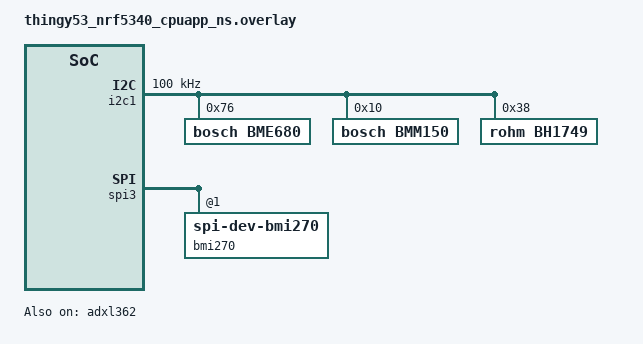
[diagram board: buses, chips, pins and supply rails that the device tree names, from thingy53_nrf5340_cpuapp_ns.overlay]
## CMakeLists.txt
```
#
# Copyright (c) 2018 Nordic Semiconductor
#
# SPDX-License-Identifier: LicenseRef-Nordic-5-Clause
#
cmake_minimum_required(VERSION 3.20.0)

find_package(Zephyr REQUIRED HINTS $ENV{ZEPHYR_BASE})
project(thingy53_BT_services)

# NORDIC SDK APP START
target_sources(app PRIVATE
  src/main.c
  src/bme68x_service.c
  src/adxl362_service.c
  src/bmm150_service.c
  src/BH1749NUC_colorsens_service.c
  src/bmi270_service.c
  src/debug_service.c
)

# NORDIC SDK APP END
```

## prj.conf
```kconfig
#
# Copyright (c) 2018 Nordic Semiconductor
#
# SPDX-License-Identifier: LicenseRef-Nordic-5-Clause
#

CONFIG_LOG=y
CONFIG_PRINTK=y
CONFIG_CONSOLE=y



CONFIG_NCS_SAMPLES_DEFAULTS=y

CONFIG_BT=y
CONFIG_BT_PERIPHERAL=y
CONFIG_BT_DEVICE_NAME="Nordic_LBS"


CONFIG_I2C=y
CONFIG_SPI=y
CONFIG_SENSOR=y
CONFIG_GPIO=y

# Sensors
CONFIG_BME680=y
CONFIG_ADXL362=y
CONFIG_BMM150=y
CONFIG_BH1749=y
CONFIG_BMI270=y

CONFIG_LOG=y
CONFIG_PRINTK=y
CONFIG_CONSOLE=y

# Enable the LBS service
CONFIG_BT_LBS=y
CONFIG_BT_LBS_POLL_BUTTON=y
CONFIG_DK_LIBRARY=y

CONFIG_SYSTEM_WORKQUEUE_STACK_SIZE=2048
```

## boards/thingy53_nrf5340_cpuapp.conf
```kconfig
#
# Copyright (c) 2021 Nordic Semiconductor ASA
#
# SPDX-License-Identifier: LicenseRef-Nordic-5-Clause
#
################################################################################
# Application overlay - Thingy:53 DFU

CONFIG_NCS_SAMPLE_MCUMGR_BT_OTA_DFU=y

CONFIG_SYSTEM_WORKQUEUE_STACK_SIZE=4096

# Use deferred logging
CONFIG_NCS_SAMPLES_DEFAULTS=n
CONFIG_LOG=y
CONFIG_ASSERT=y
CONFIG_ASSERT_NO_COND_INFO=y
CONFIG_ASSERT_NO_MSG_INFO=y
CONFIG_HW_STACK_PROTECTION=y

#&i2c1 {
 #   status = "okay";
   # clock-frequency = <I2C_BITRATE_STANDARD>;

    #bme680: bme680@76 {
     #   compatible = "bosch,bme680";
      #  reg = <0x76>;
   # };
#};
```

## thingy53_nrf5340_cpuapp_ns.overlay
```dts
&i2c1 {
    status = "okay";
    clock-frequency = <100000>; /* Standard 100kHz bitrate */

    bme680: bme680@76 {
        compatible = "bosch,bme680";
        reg = <0x76>;
    };

    bmm150: bmm150@10 {
        compatible = "bosch,bmm150";
        reg = <0x10>;          
        status = "okay";
    };

    bh1749: bh1749@38 {
        compatible = "rohm,bh1749";
        reg = <0x38>;
        status = "okay";
    };
};

&adxl362 {
    status = "okay";
};

&spi3 {
    bmi270: spi-dev-bmi270@1 {
        status = "okay";
    }; 
};
```

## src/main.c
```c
/*
 * Copyright (c) 2018 Nordic Semiconductor ASA
 *
 * SPDX-License-Identifier: LicenseRef-Nordic-5-Clause
 */

#include <zephyr/types.h>
#include <stddef.h>
#include <string.h>
#include <errno.h>

#include <zephyr/sys/printk.h>
#include <zephyr/sys/byteorder.h>
#include <zephyr/kernel.h>
#include <zephyr/drivers/gpio.h>
#include <soc.h>

#include <zephyr/bluetooth/bluetooth.h>
#include <zephyr/bluetooth/hci.h>
#include <zephyr/bluetooth/conn.h>
#include <zephyr/bluetooth/uuid.h>
#include <zephyr/bluetooth/gatt.h>

#include <bluetooth/services/lbs.h>
#include <zephyr/settings/settings.h>
#include <dk_buttons_and_leds.h>

#include "debug_service.h"

#include "bme68x_service.h"
#include "adxl362_service.h"
#include "bmm150_service.h"
#include "BH1749NUC_colorsens_service.h"

#define DEVICE_NAME             CONFIG_BT_DEVICE_NAME
#define DEVICE_NAME_LEN         (sizeof(DEVICE_NAME) - 1)

#define RUN_STATUS_LED          DK_LED1
#define CON_STATUS_LED          DK_LED2
#define RUN_LED_BLINK_INTERVAL  1000

#define USER_LED                DK_LED3
#define USER_BUTTON             DK_BTN1_MSK

static bool app_button_state;
static struct k_work adv_work;

static const struct bt_data ad[] = {
    BT_DATA_BYTES(BT_DATA_FLAGS, (BT_LE_AD_GENERAL | BT_LE_AD_NO_BREDR)),
    BT_DATA(BT_DATA_NAME_COMPLETE, DEVICE_NAME, DEVICE_NAME_LEN),
};

static const struct bt_data sd[] = {
    BT_DATA_BYTES(BT_DATA_UUID128_ALL, BT_UUID_LBS_VAL),
};

static void adv_work_handler(struct k_work *work)
{
    int err = bt_le_adv_start(BT_LE_ADV_CONN_FAST_2, ad, ARRAY_SIZE(ad), sd, ARRAY_SIZE(sd));

    if (err) {
        printk("Advertising failed to start (err %d)\n", err);
        return;
    }

    printk("Advertising successfully started\n");
}

static void advertising_start(void)
{
    k_work_submit(&adv_work);
}

static void connected(struct bt_conn *conn, uint8_t err)
{
    if (err) {
        printk("Connection failed, err 0x%02x %s\n", err, bt_hci_err_to_str(err));
        return;
    }

    printk("Connected\n");
    dk_set_led_on(CON_STATUS_LED);
}

static void disconnected(struct bt_conn *conn, uint8_t reason)
{
    printk("Disconnected, reason 0x%02x %s\n", reason, bt_hci_err_to_str(reason));
    dk_set_led_off(CON_STATUS_LED);
}

static void recycled_cb(void)
{
    printk("Connection object available from previous conn. Disconnect is complete!\n");
    advertising_start();
}

#ifdef CONFIG_BT_LBS_SECURITY_ENABLED
static void security_changed(struct bt_conn *conn, bt_security_t level,
                 enum bt_security_err err)
{
    char addr[BT_ADDR_LE_STR_LEN];

    bt_addr_le_to_str(bt_conn_get_dst(conn), addr, sizeof(addr));

    if (!err) {
        printk("Security changed: %s level %u\n", addr, level);
    } else {
        printk("Security failed: %s level %u err %d %s\n", addr, level, err,
               bt_security_err_to_str(err));
    }
}
#endif

BT_CONN_CB_DEFINE(conn_callbacks) = {
    .connected        = connected,
    .disconnected     = disconnected,
    .recycled         = recycled_cb,
#ifdef CONFIG_BT_LBS_SECURITY_ENABLED
    .security_changed = security_changed,
#endif
};

#if defined(CONFIG_BT_LBS_SECURITY_ENABLED)
static void auth_passkey_display(struct bt_conn *conn, unsigned int passkey)
{
    char addr[BT_ADDR_LE_STR_LEN];

    bt_addr_le_to_str(bt_conn_get_dst(conn), addr, sizeof(addr));
    printk("Passkey for %s: %06u\n", addr, passkey);
}

static void auth_cancel(struct bt_conn *conn)
{
    char addr[BT_ADDR_LE_STR_LEN];

    bt_addr_le_to_str(bt_conn_get_dst(conn), addr, sizeof(addr));
    printk("Pairing cancelled: %s\n", addr);
}

static void pairing_complete(struct bt_conn *conn, bool bonded)
{
    char addr[BT_ADDR_LE_STR_LEN];

    bt_addr_le_to_str(bt_conn_get_dst(conn), addr, sizeof(addr));
    printk("Pairing completed: %s, bonded: %d\n", addr, bonded);
}

static void pairing_failed(struct bt_conn *conn, enum bt_security_err reason)
{
    char addr[BT_ADDR_LE_STR_LEN];

    bt_addr_le_to_str(bt_conn_get_dst(conn), addr, sizeof(addr));
    printk("Pairing failed conn: %s, reason %d %s\n", addr, reason,
           bt_security_err_to_str(reason));
}

static struct bt_conn_auth_cb conn_auth_callbacks = {
    .passkey_display = auth_passkey_display,
    .cancel = auth_cancel,
};

static struct bt_conn_auth_info_cb conn_auth_info_callbacks = {
    .pairing_complete = pairing_complete,
    .pairing_failed = pairing_failed
};
#else
static struct bt_conn_auth_cb conn_auth_callbacks;
static struct bt_conn_auth_info_cb conn_auth_info_callbacks;
#endif

static void app_led_cb(bool led_state)
{
    dk_set_led(USER_LED, led_state);
}

static bool app_button_cb(void)
{
    return app_button_state;
}

static struct bt_lbs_cb lbs_callbacks = {
    .led_cb    = app_led_cb,
    .button_cb = app_button_cb,
};

static void button_changed(uint32_t button_state, uint32_t has_changed)
{
    if (has_changed & USER_BUTTON) {
        uint32_t user_button_state = button_state & USER_BUTTON;

        bt_lbs_send_button_state(user_button_state);
        app_button_state = user_button_state ? true : false;
    }
}

static int init_button(void)
{
    int err;

    err = dk_buttons_init(button_changed);
    if (err) {
        printk("Cannot init buttons (err: %d)\n", err);
    }

    return err;
}

int main(void)
{
    int blink_status = 0;
	int err;
	
	char debug_msg[96];
	int bmm150_init_status = 0;
	int bmm150_exec_status = 0;
	int bh1749_init_status = 0;
	int bh1749_exec_status = 0;

    printk("Starting Bluetooth Peripheral LBS sample\n");

    err = dk_leds_init();
    if (err) {
        printk("LEDs init failed (err %d)\n", err);
        return 0;
    }

    err = init_button();
    if (err) {
        printk("Button init failed (err %d)\n", err);
        return 0;
    }

    if (IS_ENABLED(CONFIG_BT_LBS_SECURITY_ENABLED)) {
        err = bt_conn_auth_cb_register(&conn_auth_callbacks);
        if (err) {
            printk("Failed to register authorization callbacks.\n");
            return 0;
        }

        err = bt_conn_auth_info_cb_register(&conn_auth_info_callbacks);
        if (err) {
            printk("Failed to register authorization info callbacks.\n");
            return 0;
        }
    }

    err = bt_enable(NULL);
    if (err) {
        printk("Bluetooth init failed (err %d)\n", err);
        return 0;
    }

    printk("Bluetooth initialized\n");

    if (IS_ENABLED(CONFIG_SETTINGS)) {
        settings_load();
    }

    err = bt_lbs_init(&lbs_callbacks);
    if (err) {
        printk("Failed to init LBS (err:%d)\n", err);
        return 0;
    }

    k_work_init(&adv_work, adv_work_handler);

    // Allow regulators and the I2C bus plenty of time to stabilize
    k_msleep(1000); 

	err = debug_service_init();
	if (err) {
    	printk("Failed to init debug service (err %d)\n", err);
    	return 0;
	}

#if defined(CONFIG_SENSOR)
    err = bme68x_service_init();
    if (err) {
        printk("Failed to init BME68x service (err %d)\n", err);
        return 0;
    }

    err = adxl362_service_init();
    if (err) {
        printk("Failed to init adxl362 service (err %d)\n", err);
        return 0;
    }

    bmm150_init_status = bmm150_service_init();
	if (bmm150_init_status) {
    	printk("Failed to init BMM150 service (err %d)\n", bmm150_init_status);
	}

    bh1749_init_status = bh1749_service_init();
    if (bh1749_init_status) {
        printk("Failed to init BH1749 color sensor (err %d)\n", bh1749_init_status);
    }

	snprintk(debug_msg, sizeof(debug_msg),
         "BMM_INIT=%d BMM_EXEC=%d BH1749_INIT=%d BH1749_EXEC=%d",
         bmm150_init_status, bmm150_exec_status,
         bh1749_init_status, bh1749_exec_status);
	debug_service_set_message(debug_msg);

#endif

    advertising_start();

    for (;;) {
#if defined(CONFIG_SENSOR)

        err = bme68x_execute();
        if (err && err != -ENODEV && err != -ENOTCONN) {
            printk("bme68x_execute failed (err %d)\n", err);
        }

        err = adxl362_execute();
        if (err && err != -ENODEV && err != -ENOTCONN) {
            printk("adxl362_execute failed (err %d)\n", err);
        }
/*
        err = bmm150_execute();
        if (err && err != -ENODEV && err != -ENOTCONN) {
            printk("bmm150_execute failed (err %d)\n", err);
        }
*/

	bmm150_exec_status = bmm150_execute();
    if (bmm150_exec_status &&
        bmm150_exec_status != -ENODEV &&
        bmm150_exec_status != -ENOTCONN) {
        printk("bmm150_execute failed (err %d)\n", bmm150_exec_status);
    }

    bh1749_exec_status = bh1749_execute();
    if (bh1749_exec_status &&
        bh1749_exec_status != -ENODEV &&
        bh1749_exec_status != -ENOTCONN) {
        printk("bh1749_execute failed (err %d)\n", bh1749_exec_status);
    }

    snprintk(debug_msg, sizeof(debug_msg),
             "BMM_INIT=%d BMM_EXEC=%d BH1749_INIT=%d BH1749_EXEC=%d",
             bmm150_init_status, bmm150_exec_status,
             bh1749_init_status, bh1749_exec_status);

    debug_service_set_message(debug_msg);
    err = debug_service_notify();
    if (err && err != -ENOTCONN) {
        printk("debug_service_notify failed (err %d)\n", err);
    }

#endif

        dk_set_led(RUN_STATUS_LED, (++blink_status) % 2);
        k_sleep(K_MSEC(RUN_LED_BLINK_INTERVAL));
    }
}
```

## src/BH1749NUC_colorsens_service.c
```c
#include <zephyr/types.h>
#include <zephyr/device.h>
#include <zephyr/devicetree.h>
#include <zephyr/drivers/sensor.h>

#include <stddef.h>
#include <string.h>
#include <errno.h>
#include <stdbool.h>

#include <zephyr/sys/printk.h>
#include <zephyr/sys/util.h>

#include <zephyr/bluetooth/bluetooth.h>
#include <zephyr/bluetooth/uuid.h>
#include <zephyr/bluetooth/gatt.h>

#include "BH1749NUC_colorsens_service.h"

static bool color_ready;
static bool color_notify_enabled;
static const struct device *color = DEVICE_DT_GET(DT_NODELABEL(bh1749));

#define BT_UUID_COLOR_SERVICE_VAL \
	BT_UUID_128_ENCODE(0x12345678, 0x1234, 0x5678, 0x1234, 0x56789abc0030)

#define BT_UUID_COLOR_CHAR_VAL \
	BT_UUID_128_ENCODE(0x12345678, 0x1234, 0x5678, 0x1234, 0x56789abc0031)

static struct bt_uuid_128 color_service_uuid =
	BT_UUID_INIT_128(BT_UUID_COLOR_SERVICE_VAL);

static struct bt_uuid_128 color_char_uuid =
	BT_UUID_INIT_128(BT_UUID_COLOR_CHAR_VAL);

static void color_ccc_cfg_changed(const struct bt_gatt_attr *attr, uint16_t value)
{
	ARG_UNUSED(attr);

	color_notify_enabled = (value == BT_GATT_CCC_NOTIFY);
	printk("Color sensor notifications %s\n",
	       color_notify_enabled ? "enabled" : "disabled");
}

BT_GATT_SERVICE_DEFINE(color_svc,
	BT_GATT_PRIMARY_SERVICE(&color_service_uuid),
	BT_GATT_CHARACTERISTIC(&color_char_uuid.uuid,
			       BT_GATT_CHRC_NOTIFY,
			       BT_GATT_PERM_NONE,
			       NULL, NULL, NULL),
	BT_GATT_CCC(color_ccc_cfg_changed,
		    BT_GATT_PERM_READ | BT_GATT_PERM_WRITE),
);

static int color_send_notification(const struct sensor_value *red,
				   const struct sensor_value *green,
				   const struct sensor_value *blue,
				   const struct sensor_value *ir)
{
	char msg[96];

	if (!color_notify_enabled) {
		return 0;
	}

	snprintk(msg, sizeof(msg),
		 "R=%d.%06d G=%d.%06d B=%d.%06d IR=%d.%06d",
		 red->val1, red->val2,
		 green->val1, green->val2,
		 blue->val1, blue->val2,
		 ir->val1, ir->val2);

	return bt_gatt_notify(NULL, &color_svc.attrs[2], msg, strlen(msg));
}

int bh1749_service_init(void)
{
	if (!DT_NODE_EXISTS(DT_NODELABEL(bh1749))) {
		printk("BH1749 DT node not found\n");
		color_ready = false;
		return -ENODEV;
	}

	if (color == NULL) {
		printk("BH1749 device pointer is NULL\n");
		color_ready = false;
		return -ENODEV;
	}

	if (!device_is_ready(color)) {
		printk("BH1749 color sensor device not ready: %p\n", color);
		color_ready = false;
		return -ENODEV;
	}

	printk("BH1749 color sensor ready: %s (%p)\n", color->name, color);
	color_ready = true;

	return 0;
}

int bh1749_execute(void)
{
	int err;
	struct sensor_value red;
	struct sensor_value green;
	struct sensor_value blue;
	struct sensor_value ir;

	if (!color_ready) {
		return -ENODEV;
	}

	err = sensor_sample_fetch(color);
	if (err) {
		printk("color sensor_sample_fetch failed (err %d)\n", err);
		return err;
	}

	err = sensor_channel_get(color, SENSOR_CHAN_RED, &red);
	if (err) {
		printk("red channel read failed (err %d)\n", err);
		return err;
	}

	err = sensor_channel_get(color, SENSOR_CHAN_GREEN, &green);
	if (err) {
		printk("green channel read failed (err %d)\n", err);
		return err;
	}

	err = sensor_channel_get(color, SENSOR_CHAN_BLUE, &blue);
	if (err) {
		printk("blue channel read failed (err %d)\n", err);
		return err;
	}

	err = sensor_channel_get(color, SENSOR_CHAN_IR, &ir);
	if (err) {
		printk("IR channel read failed (err %d)\n", err);
		return err;
	}

	err = color_send_notification(&red, &green, &blue, &ir);
	if (err && err != -ENOTCONN) {
		printk("Color sensor notify failed (err %d)\n", err);
		return err;
	}

	printk("R: %d.%06d | G: %d.%06d | B: %d.%06d | IR: %d.%06d\n",
	       red.val1, red.val2,
	       green.val1, green.val2,
	       blue.val1, blue.val2,
	       ir.val1, ir.val2);

	return 0;
}
```

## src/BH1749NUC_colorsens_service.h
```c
#ifndef BH1749NUC_COLORSENS_SERVICE_H_
#define BH1749NUC_COLORSENS_SERVICE_H_

int bh1749_service_init(void);
int bh1749_execute(void);

#endif /* BH1749NUC_COLORSENS_SERVICE_H_ */
```

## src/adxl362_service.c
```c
#include <zephyr/types.h>
#include <zephyr/device.h>
#include <zephyr/devicetree.h>
#include <zephyr/drivers/sensor.h>

#include <stddef.h>
#include <string.h>
#include <errno.h>
#include <stdbool.h>

#include <zephyr/sys/printk.h>
#include <zephyr/sys/util.h>

#include <zephyr/bluetooth/bluetooth.h>
#include <zephyr/bluetooth/uuid.h>
#include <zephyr/bluetooth/gatt.h>

#include "adxl362_service.h"

static bool accel_ready;
static bool accel_notify_enabled;
static const struct device *accel = DEVICE_DT_GET(DT_ALIAS(accel0));

#define BT_UUID_ACCEL_SERVICE_VAL \
	BT_UUID_128_ENCODE(0x12345678, 0x1234, 0x5678, 0x1234, 0x56789abc0010)

#define BT_UUID_ACCEL_CHAR_VAL \
	BT_UUID_128_ENCODE(0x12345678, 0x1234, 0x5678, 0x1234, 0x56789abc0011)

static struct bt_uuid_128 accel_service_uuid =
	BT_UUID_INIT_128(BT_UUID_ACCEL_SERVICE_VAL);

static struct bt_uuid_128 accel_char_uuid =
	BT_UUID_INIT_128(BT_UUID_ACCEL_CHAR_VAL);

static void accel_ccc_cfg_changed(const struct bt_gatt_attr *attr, uint16_t value)
{
	ARG_UNUSED(attr);

	accel_notify_enabled = (value == BT_GATT_CCC_NOTIFY);
	printk("Accel notifications %s\n", accel_notify_enabled ? "enabled" : "disabled");
}

BT_GATT_SERVICE_DEFINE(accel_svc,
	BT_GATT_PRIMARY_SERVICE(&accel_service_uuid),
	BT_GATT_CHARACTERISTIC(&accel_char_uuid.uuid,
			       BT_GATT_CHRC_NOTIFY,
			       BT_GATT_PERM_NONE,
			       NULL, NULL, NULL),
	BT_GATT_CCC(accel_ccc_cfg_changed,
		    BT_GATT_PERM_READ | BT_GATT_PERM_WRITE),
);

static int accel_send_notification(const struct sensor_value *x,
				   const struct sensor_value *y,
				   const struct sensor_value *z)
{
	char msg[64];

	if (!accel_notify_enabled) {
		return 0;
	}

	snprintk(msg, sizeof(msg),
		 "AX=%d.%06d AY=%d.%06d AZ=%d.%06d",
		 x->val1, x->val2,
		 y->val1, y->val2,
		 z->val1, z->val2);

	return bt_gatt_notify(NULL, &accel_svc.attrs[2], msg, strlen(msg));
}

int adxl362_service_init(void)
{
	if (!device_is_ready(accel)) {
		printk("Accelerometer device not ready\n");
		accel_ready = false;
		return -ENODEV;
	}

	printk("Accelerometer ready: %s\n", accel->name);
	accel_ready = true;

	return 0;
}

int adxl362_execute(void)
{
	int err;
	struct sensor_value accel_x;
	struct sensor_value accel_y;
	struct sensor_value accel_z;

	if (!accel_ready) {
		return -ENODEV;
	}

	err = sensor_sample_fetch(accel);
	if (err) {
		printk("accel sensor_sample_fetch failed (err %d)\n", err);
		return err;
	}

	err = sensor_channel_get(accel, SENSOR_CHAN_ACCEL_X, &accel_x);
	if (err) {
		printk("accel X read failed (err %d)\n", err);
		return err;
	}

	err = sensor_channel_get(accel, SENSOR_CHAN_ACCEL_Y, &accel_y);
	if (err) {
		printk("accel Y read failed (err %d)\n", err);
		return err;
	}

	err = sensor_channel_get(accel, SENSOR_CHAN_ACCEL_Z, &accel_z);
	if (err) {
		printk("accel Z read failed (err %d)\n", err);
		return err;
	}

	err = accel_send_notification(&accel_x, &accel_y, &accel_z);
	if (err && err != -ENOTCONN) {
		printk("Accel notify failed (err %d)\n", err);
		return err;
	}

	printk("AX: %d.%06d | AY: %d.%06d | AZ: %d.%06d\n",
	       accel_x.val1, accel_x.val2,
	       accel_y.val1, accel_y.val2,
	       accel_z.val1, accel_z.val2);

	return 0;
}
```

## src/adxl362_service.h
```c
#ifndef adxl362_SERVICE_H_
#define adxl362_SERVICE_H_

int adxl362_service_init(void);
int adxl362_execute(void);

#endif /* adxl362_SERVICE_H_ */
```

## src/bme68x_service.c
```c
#include <zephyr/types.h>
#include <zephyr/device.h>
#include <zephyr/devicetree.h>
#include <zephyr/drivers/sensor.h>

#include <stddef.h>
#include <string.h>
#include <errno.h>
#include <stdbool.h>

#include <zephyr/sys/printk.h>
#include <zephyr/sys/util.h>

#include <zephyr/bluetooth/bluetooth.h>
#include <zephyr/bluetooth/uuid.h>
#include <zephyr/bluetooth/gatt.h>

#include "bme68x_service.h"

static bool bme_ready;
static bool bme_notify_enabled;
static const struct device *bme = DEVICE_DT_GET_ONE(bosch_bme680);

#define BT_UUID_BME_SERVICE_VAL \
	BT_UUID_128_ENCODE(0x12345678, 0x1234, 0x5678, 0x1234, 0x56789abc0000)

#define BT_UUID_BME_CHAR_VAL \
	BT_UUID_128_ENCODE(0x12345678, 0x1234, 0x5678, 0x1234, 0x56789abc0001)

static struct bt_uuid_128 bme_service_uuid =
	BT_UUID_INIT_128(BT_UUID_BME_SERVICE_VAL);

static struct bt_uuid_128 bme_char_uuid =
	BT_UUID_INIT_128(BT_UUID_BME_CHAR_VAL);

static void bme_ccc_cfg_changed(const struct bt_gatt_attr *attr, uint16_t value)
{
	ARG_UNUSED(attr);

	bme_notify_enabled = (value == BT_GATT_CCC_NOTIFY);
	printk("BME notifications %s\n", bme_notify_enabled ? "enabled" : "disabled");
}

BT_GATT_SERVICE_DEFINE(bme_svc,
	BT_GATT_PRIMARY_SERVICE(&bme_service_uuid),
	BT_GATT_CHARACTERISTIC(&bme_char_uuid.uuid,
			       BT_GATT_CHRC_NOTIFY,
			       BT_GATT_PERM_NONE,
			       NULL, NULL, NULL),
	BT_GATT_CCC(bme_ccc_cfg_changed,
		    BT_GATT_PERM_READ | BT_GATT_PERM_WRITE),
);

static int bme_send_notification(const struct sensor_value *temp,
				 const struct sensor_value *press,
				 const struct sensor_value *humidity,
				 const struct sensor_value *gas_res)
{
	char msg[96];

	if (!bme_notify_enabled) {
		return 0;
	}

	snprintk(msg, sizeof(msg),
		 "T=%d.%03d P=%d.%05d H=%d.%06d G=%d.%06d",
		 temp->val1, temp->val2,
		 press->val1, press->val2,
		 humidity->val1, humidity->val2,
		 gas_res->val1, gas_res->val2);

	return bt_gatt_notify(NULL, &bme_svc.attrs[2], msg, strlen(msg));
}

int bme68x_service_init(void)
{
	if (!device_is_ready(bme)) {
		printk("BME sensor device not ready\n");
		bme_ready = false;
		return -ENODEV;
	}

	printk("BME sensor ready: %s\n", bme->name);
	bme_ready = true;

	return 0;
}

int bme68x_execute(void)
{
	int err;
	struct sensor_value temp;
	struct sensor_value press;
	struct sensor_value humidity;
	struct sensor_value gas_res;

	if (!bme_ready) {
		return -ENODEV;
	}

	err = sensor_sample_fetch(bme);
	if (err) {
		printk("sensor_sample_fetch failed (err %d)\n", err);
		return err;
	}

	err = sensor_channel_get(bme, SENSOR_CHAN_AMBIENT_TEMP, &temp);
	if (err) {
		printk("temp read failed (err %d)\n", err);
		return err;
	}

	err = sensor_channel_get(bme, SENSOR_CHAN_PRESS, &press);
	if (err) {
		printk("press read failed (err %d)\n", err);
		return err;
	}

	err = sensor_channel_get(bme, SENSOR_CHAN_HUMIDITY, &humidity);
	if (err) {
		printk("humidity read failed (err %d)\n", err);
		return err;
	}

	err = sensor_channel_get(bme, SENSOR_CHAN_GAS_RES, &gas_res);
	if (err) {
		printk("gas resistance read failed (err %d)\n", err);
		return err;
	}

	err = bme_send_notification(&temp, &press, &humidity, &gas_res);
	if (err && err != -ENOTCONN) {
		printk("BME notify failed (err %d)\n", err);
		return err;
	}

	printk("T: %d.%06d | P: %d.%06d | H: %d.%06d | G: %d.%06d\n",
	       temp.val1, temp.val2,
	       press.val1, press.val2,
	       humidity.val1, humidity.val2,
	       gas_res.val1, gas_res.val2);

	return 0;
}
```

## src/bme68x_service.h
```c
#ifndef BME68X_SERVICE_H_
#define BME68X_SERVICE_H_

int bme68x_service_init(void);
int bme68x_execute(void);

#endif /* BME68X_SERVICE_H_ */
```

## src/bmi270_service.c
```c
#include <zephyr/types.h>
#include <zephyr/device.h>
#include <zephyr/devicetree.h>
#include <zephyr/drivers/sensor.h>

#include <stddef.h>
#include <string.h>
#include <errno.h>
#include <stdbool.h>

#include <zephyr/sys/printk.h>
#include <zephyr/sys/util.h>

#include <zephyr/bluetooth/bluetooth.h>
#include <zephyr/bluetooth/uuid.h>
#include <zephyr/bluetooth/gatt.h>

#define BMI270_REG_CHIP_ID         0x00

extern int bmi270_reg_read(const struct device *dev, uint8_t reg,
                            uint8_t *data, uint16_t length);

#include "bmi270_service.h"

static bool bmi270_ready;
static bool bmi270_notify_enabled;
static const struct device *bmi270 = DEVICE_DT_GET(DT_NODELABEL(bmi270));

#define BT_UUID_BMI270_SERVICE_VAL \
	BT_UUID_128_ENCODE(0x12345678, 0x1234, 0x5678, 0x1234, 0x56789abc0040)

#define BT_UUID_BMI270_CHAR_VAL \
	BT_UUID_128_ENCODE(0x12345678, 0x1234, 0x5678, 0x1234, 0x56789abc0041)

static struct bt_uuid_128 bmi270_service_uuid =
	BT_UUID_INIT_128(BT_UUID_BMI270_SERVICE_VAL);

static struct bt_uuid_128 bmi270_char_uuid =
	BT_UUID_INIT_128(BT_UUID_BMI270_CHAR_VAL);

static void bmi270_ccc_cfg_changed(const struct bt_gatt_attr *attr, uint16_t value)
{
	ARG_UNUSED(attr);

	bmi270_notify_enabled = (value == BT_GATT_CCC_NOTIFY);
	printk("BMI270 notifications %s\n",
	       bmi270_notify_enabled ? "enabled" : "disabled");
}

BT_GATT_SERVICE_DEFINE(bmi270_svc,
	BT_GATT_PRIMARY_SERVICE(&bmi270_service_uuid),
	BT_GATT_CHARACTERISTIC(&bmi270_char_uuid.uuid,
			       BT_GATT_CHRC_NOTIFY,
			       BT_GATT_PERM_NONE,
			       NULL, NULL, NULL),
	BT_GATT_CCC(bmi270_ccc_cfg_changed,
		    BT_GATT_PERM_READ | BT_GATT_PERM_WRITE),
);

static int bmi270_send_notification(const struct sensor_value *accel_x,
				   const struct sensor_value *accel_y,
				   const struct sensor_value *accel_z,
				   const struct sensor_value *gyro_x,
				   const struct sensor_value *gyro_y,
				   const struct sensor_value *gyro_z)
{
	char msg[128];

	if (!bmi270_notify_enabled) {
		return 0;
	}

	snprintk(msg, sizeof(msg),
		 "AX=%d.%06d AY=%d.%06d AZ=%d.%06d GX=%d.%06d GY=%d.%06d GZ=%d.%06d",
		 accel_x->val1, accel_x->val2,
		 accel_y->val1, accel_y->val2,
		 accel_z->val1, accel_z->val2,
		 gyro_x->val1, gyro_x->val2,
		 gyro_y->val1, gyro_y->val2,
		 gyro_z->val1, gyro_z->val2);

	return bt_gatt_notify(NULL, &bmi270_svc.attrs[2], msg, strlen(msg));
}

int bmi270_service_init(void)
{
	if (!DT_NODE_EXISTS(DT_NODELABEL(bmi270))) {
		printk("BMI270 DT node not found\n");
		bmi270_ready = false;
		return -ENODEV;
	}

	if (bmi270 == NULL) {
		printk("BMI270 device pointer is NULL\n");
		bmi270_ready = false;
		return -ENODEV;
	}

	if (!device_is_ready(bmi270)) {
		printk("BMI270 device not ready: %p\n", bmi270);
		bmi270_ready = false;
		return -ENODEV;
	}

	printk("BMI270 sensor ready: %s\n", bmi270->name);
	bmi270_ready = true;

	return 0;
}

int bmi270_get_chip_id(uint8_t *chip_id)
{
	int err;

	if (chip_id == NULL) {
		return -EINVAL;
	}

	if (!bmi270_ready) {
		return -ENODEV;
	}

	err = bmi270_reg_read(bmi270, BMI270_REG_CHIP_ID, chip_id, 1);
	if (err) {
		printk("BMI270 chip id read failed (err %d)\n", err);
		return err;
	}

	printk("BMI270 chip id: 0x%02x\n", *chip_id);
	return 0;
}

int bmi270_execute(void)
{
	int err;
	struct sensor_value accel_x;
	struct sensor_value accel_y;
	struct sensor_value accel_z;
	struct sensor_value gyro_x;
	struct sensor_value gyro_y;
	struct sensor_value gyro_z;

	if (!bmi270_ready) {
		return -ENODEV;
	}

	err = sensor_sample_fetch(bmi270);
	if (err) {
		printk("BMI270 sensor_sample_fetch failed (err %d)\n", err);
		return err;
	}

	err = sensor_channel_get(bmi270, SENSOR_CHAN_ACCEL_X, &accel_x);
	if (err) {
		printk("BMI270 accel X read failed (err %d)\n", err);
		return err;
	}

	err = sensor_channel_get(bmi270, SENSOR_CHAN_ACCEL_Y, &accel_y);
	if (err) {
		printk("BMI270 accel Y read failed (err %d)\n", err);
		return err;
	}

	err = sensor_channel_get(bmi270, SENSOR_CHAN_ACCEL_Z, &accel_z);
	if (err) {
		printk("BMI270 accel Z read failed (err %d)\n", err);
		return err;
	}

	err = sensor_channel_get(bmi270, SENSOR_CHAN_GYRO_X, &gyro_x);
	if (err) {
		printk("BMI270 gyro X read failed (err %d)\n", err);
		return err;
	}

	err = sensor_channel_get(bmi270, SENSOR_CHAN_GYRO_Y, &gyro_y);
	if (err) {
		printk("BMI270 gyro Y read failed (err %d)\n", err);
		return err;
	}

	err = sensor_channel_get(bmi270, SENSOR_CHAN_GYRO_Z, &gyro_z);
	if (err) {
		printk("BMI270 gyro Z read failed (err %d)\n", err);
		return err;
	}

	err = bmi270_send_notification(&accel_x, &accel_y, &accel_z,
				       &gyro_x, &gyro_y, &gyro_z);
	if (err && err != -ENOTCONN) {
		printk("BMI270 notify failed (err %d)\n", err);
		return err;
	}

	printk("AX:%d.%06d AY:%d.%06d AZ:%d.%06d GX:%d.%06d GY:%d.%06d GZ:%d.%06d\n",
	       accel_x.val1, accel_x.val2,
	       accel_y.val1, accel_y.val2,
	       accel_z.val1, accel_z.val2,
	       gyro_x.val1, gyro_x.val2,
	       gyro_y.val1, gyro_y.val2,
	       gyro_z.val1, gyro_z.val2);

	return 0;
}
```

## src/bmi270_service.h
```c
#ifndef BMI270_SERVICE_H_
#define BMI270_SERVICE_H_

#include <zephyr/types.h>

int bmi270_service_init(void);
int bmi270_execute(void);
int bmi270_get_chip_id(uint8_t *chip_id);

#endif /* BMI270_SERVICE_H_ */
```

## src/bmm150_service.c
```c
#include <zephyr/types.h>
#include <zephyr/device.h>
#include <zephyr/devicetree.h>
#include <zephyr/drivers/sensor.h>

#include <stddef.h>
#include <string.h>
#include <errno.h>
#include <stdbool.h>

#include <zephyr/sys/printk.h>
#include <zephyr/sys/util.h>
#include <zephyr/drivers/i2c.h>
#include <zephyr/drivers/spi.h>

#include <zephyr/bluetooth/bluetooth.h>
#include <zephyr/bluetooth/uuid.h>
#include <zephyr/bluetooth/gatt.h>

#include "bmm150_service.h"

static bool mag_ready;
static bool bmm150_notify_enabled;

static const struct device *mag = DEVICE_DT_GET_ONE(bosch_bmm150);

#define BMM150_REG_CHIP_ID         0x40

union bmm150_bus;

typedef int (*bmm150_reg_read_fn)(const union bmm150_bus *bus,
                                  uint8_t start,
                                  uint8_t *buf,
                                  int size);

typedef int (*bmm150_reg_write_fn)(const union bmm150_bus *bus,
                                   uint8_t reg,
                                   uint8_t val);

struct bmm150_bus_io {
        bmm150_reg_read_fn read;
        bmm150_reg_write_fn write;
};

union bmm150_bus {
#if defined(CONFIG_I2C)
        struct i2c_dt_spec i2c;
#endif
#if defined(CONFIG_SPI)
        struct spi_dt_spec spi;
#endif
};

struct bmm150_config {
        union bmm150_bus bus;
        const struct bmm150_bus_io *bus_io;
};

#define BT_UUID_BMM150_SERVICE_VAL \
	BT_UUID_128_ENCODE(0x12345678, 0x1234, 0x5678, 0x1234, 0x56789abc0020)

#define BT_UUID_BMM150_CHAR_VAL \
	BT_UUID_128_ENCODE(0x12345678, 0x1234, 0x5678, 0x1234, 0x56789abc0021)

static struct bt_uuid_128 bmm150_service_uuid =
	BT_UUID_INIT_128(BT_UUID_BMM150_SERVICE_VAL);

static struct bt_uuid_128 bmm150_char_uuid =
	BT_UUID_INIT_128(BT_UUID_BMM150_CHAR_VAL);

static void bmm150_ccc_cfg_changed(const struct bt_gatt_attr *attr, uint16_t value)
{
	ARG_UNUSED(attr);

	bmm150_notify_enabled = (value == BT_GATT_CCC_NOTIFY);
	printk("BMM150 notifications %s\n",
	       bmm150_notify_enabled ? "enabled" : "disabled");
}

BT_GATT_SERVICE_DEFINE(bmm150_svc,
	BT_GATT_PRIMARY_SERVICE(&bmm150_service_uuid),
	BT_GATT_CHARACTERISTIC(&bmm150_char_uuid.uuid,
			       BT_GATT_CHRC_NOTIFY,
			       BT_GATT_PERM_NONE,
			       NULL, NULL, NULL),
	BT_GATT_CCC(bmm150_ccc_cfg_changed,
		    BT_GATT_PERM_READ | BT_GATT_PERM_WRITE),
);

static int bmm150_send_notification(const struct sensor_value *x,
				    const struct sensor_value *y,
				    const struct sensor_value *z)
{
	char msg[64];

	if (!bmm150_notify_enabled) {
		return 0;
	}

	snprintk(msg, sizeof(msg),
		 "MX=%d.%06d MY=%d.%06d MZ=%d.%06d",
		 x->val1, x->val2,
		 y->val1, y->val2,
		 z->val1, z->val2);

	return bt_gatt_notify(NULL, &bmm150_svc.attrs[2], msg, strlen(msg));
}

int bmm150_service_init(void)
{
	if (mag == NULL) {
		printk("BMM150 device pointer is NULL\n");
		mag_ready = false;
		return -ENODEV;
	}

	if (!device_is_ready(mag)) {
		printk("BMM150 device not ready: %p\n", mag);
		mag_ready = false;
		return -ENODEV;
	}

	printk("BMM150 ready: %s (%p)\n", mag->name, mag);
	mag_ready = true;

	return 0;
}

int bmm150_get_chip_id(uint8_t *chip_id)
{
	const struct bmm150_config *cfg;
	int err;

	if (chip_id == NULL) {
		return -EINVAL;
	}

	if (!mag_ready) {
		return -ENODEV;
	}

	cfg = mag->config;
	if (cfg == NULL || cfg->bus_io == NULL || cfg->bus_io->read == NULL) {
		return -EINVAL;
	}

	err = cfg->bus_io->read(&cfg->bus, BMM150_REG_CHIP_ID, chip_id, 1);
	if (err) {
		printk("BMM150 chip id read failed (err %d)\n", err);
		return err;
	}

	printk("BMM150 chip id: 0x%02x\n", *chip_id);
	return 0;
}

int bmm150_execute(void)
{
	int err;
	struct sensor_value magn_x;
	struct sensor_value magn_y;
	struct sensor_value magn_z;

	if (!mag_ready) {
		return -ENODEV;
	}

	err = sensor_sample_fetch(mag);
	if (err) {
		printk("mag sensor_sample_fetch failed (err %d)\n", err);
		return err;
	}

	err = sensor_channel_get(mag, SENSOR_CHAN_MAGN_X, &magn_x);
	if (err) {
		printk("mag X read failed (err %d)\n", err);
		return err;
	}

	err = sensor_channel_get(mag, SENSOR_CHAN_MAGN_Y, &magn_y);
	if (err) {
		printk("mag Y read failed (err %d)\n", err);
		return err;
	}

	err = sensor_channel_get(mag, SENSOR_CHAN_MAGN_Z, &magn_z);
	if (err) {
		printk("mag Z read failed (err %d)\n", err);
		return err;
	}

	err = bmm150_send_notification(&magn_x, &magn_y, &magn_z);
	if (err && err != -ENOTCONN) {
		printk("BMM150 notify failed (err %d)\n", err);
		return err;
	}

	printk("MX: %d.%06d | MY: %d.%06d | MZ: %d.%06d\n",
	       magn_x.val1, magn_x.val2,
	       magn_y.val1, magn_y.val2,
	       magn_z.val1, magn_z.val2);

	return 0;
}
```

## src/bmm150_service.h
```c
#ifndef BMM150_SERVICE_H_
#define BMM150_SERVICE_H_

#include <zephyr/types.h>

int bmm150_service_init(void);
int bmm150_execute(void);
int bmm150_get_chip_id(uint8_t *chip_id);

#endif /* BMM150_SERVICE_H_ */
```

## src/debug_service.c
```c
#include <zephyr/types.h>
#include <stddef.h>
#include <string.h>
#include <stdbool.h>

#include <zephyr/sys/printk.h>
#include <zephyr/bluetooth/bluetooth.h>
#include <zephyr/bluetooth/uuid.h>
#include <zephyr/bluetooth/gatt.h>

#include "debug_service.h"

static bool debug_notify_enabled;
static char debug_value[96];

#define BT_UUID_DEBUG_SERVICE_VAL \
	BT_UUID_128_ENCODE(0x12345678, 0x1234, 0x5678, 0x1234, 0x56789abc00f0)

#define BT_UUID_DEBUG_CHAR_VAL \
	BT_UUID_128_ENCODE(0x12345678, 0x1234, 0x5678, 0x1234, 0x56789abc00f1)

static struct bt_uuid_128 debug_service_uuid =
	BT_UUID_INIT_128(BT_UUID_DEBUG_SERVICE_VAL);
static struct bt_uuid_128 debug_char_uuid =
	BT_UUID_INIT_128(BT_UUID_DEBUG_CHAR_VAL);

static ssize_t read_debug(struct bt_conn *conn,
			  const struct bt_gatt_attr *attr,
			  void *buf,
			  uint16_t len,
			  uint16_t offset)
{
	const char *value = attr->user_data;

	return bt_gatt_attr_read(conn, attr, buf, len, offset,
				 value, strlen(value));
}

static void debug_ccc_cfg_changed(const struct bt_gatt_attr *attr, uint16_t value)
{
	ARG_UNUSED(attr);

	debug_notify_enabled = (value == BT_GATT_CCC_NOTIFY);
	printk("Debug notifications %s\n",
	       debug_notify_enabled ? "enabled" : "disabled");
}

BT_GATT_SERVICE_DEFINE(debug_svc,
	BT_GATT_PRIMARY_SERVICE(&debug_service_uuid),
	BT_GATT_CHARACTERISTIC(&debug_char_uuid.uuid,
			       BT_GATT_CHRC_READ | BT_GATT_CHRC_NOTIFY,
			       BT_GATT_PERM_READ,
			       read_debug, NULL, debug_value),
	BT_GATT_CCC(debug_ccc_cfg_changed,
		    BT_GATT_PERM_READ | BT_GATT_PERM_WRITE),
);

int debug_service_init(void)
{
	debug_value[0] = '\0';
	return 0;
}

int debug_service_set_message(const char *msg)
{
	if (msg == NULL) {
		return -EINVAL;
	}

	strncpy(debug_value, msg, sizeof(debug_value) - 1);
	debug_value[sizeof(debug_value) - 1] = '\0';

	return 0;
}

int debug_service_notify(void)
{
	if (!debug_notify_enabled) {
		return 0;
	}

	return bt_gatt_notify(NULL, &debug_svc.attrs[2],
			      debug_value, strlen(debug_value));
}
```

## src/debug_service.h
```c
#ifndef DEBUG_SERVICE_H_
#define DEBUG_SERVICE_H_

#include <stddef.h>

int debug_service_init(void);
int debug_service_set_message(const char *msg);
int debug_service_notify(void);

#endif /* DEBUG_SERVICE_H_ */
```
